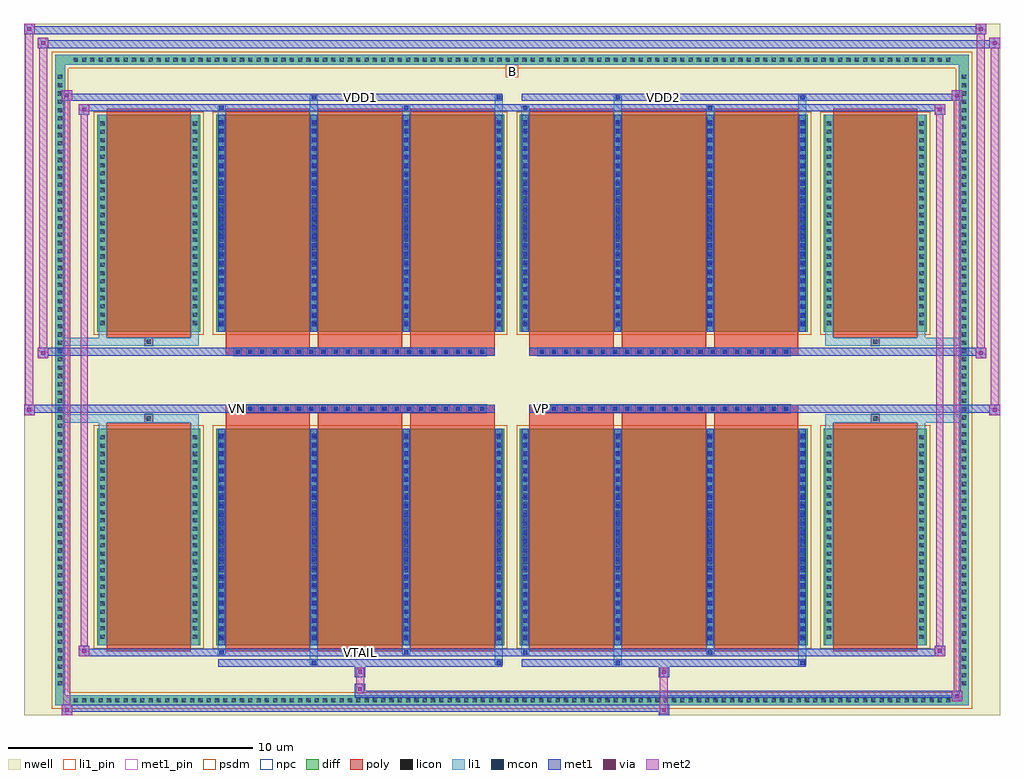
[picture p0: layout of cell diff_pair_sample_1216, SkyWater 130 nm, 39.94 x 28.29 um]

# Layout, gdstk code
import gdstk
lib = gdstk.Library(unit=1e-6, precision=5e-09)
def R(c, l, rs):  # rectangles x0, y0, x1, y1
    for r in rs: c.add(gdstk.rectangle(r[:2], r[2:], *l))
def A(c, l, x, y, w, h, nx, ny, dx, dy):  # array of equal rectangles
    R(c, l, [(x+i*dx, y+j*dy, x+i*dx+w, y+j*dy+h) for i in range(nx) for j in range(ny)])
def P(c, l, *ps):  # polygons
    for p in ps: c.add(gdstk.Polygon(p, *l))
nwell = (64, 20)
diff = (65, 20)
poly = (66, 20)
licon = (66, 44)
li1_pin = (67, 16)
li1 = (67, 20)
mcon = (67, 44)
met1_pin = (68, 16)
met1 = (68, 20)
via = (68, 44)
met2 = (69, 20)
psdm = (94, 20)
npc = (95, 20)

diff_pair_sample_1216 = lib.new_cell('diff_pair_sample_1216')
R(diff_pair_sample_1216, nwell, [(-19.97,-13.71,19.97,14.58), (-17.29,-11.9,-0.01,-0.8), (0.01,-11.9,17.29,-0.8), (-17.29,0.8,-0.01,11.9), (0.01,0.8,17.29,11.9)])
A(diff_pair_sample_1216, diff, -18.055, -13.31, 0.41, 0.41, 106, 2, 0.34, 26.21)
A(diff_pair_sample_1216, diff, -18.7, -12.615, 0.41, 0.41, 1, 74, 0, 0.34)
A(diff_pair_sample_1216, diff, 18.29, -12.615, 0.41, 0.41, 1, 74, 0, 0.34)
R(diff_pair_sample_1216, diff, [(-18.055,-13.31,18.055,-12.9), (-18.7,-12.615,-18.29,12.615), (18.29,-12.615,18.7,12.615), (-16.98,-10.855,-12.75,-1.985), (-12.11,-10.855,-0.32,-1.985), (0.32,-10.855,12.11,-1.985), (12.75,-10.855,16.98,-1.985), (-16.98,1.985,-12.75,10.855), (-12.11,1.985,-0.32,10.855), (0.32,1.985,12.11,10.855), (12.75,1.985,16.98,10.855), (-18.055,12.9,18.055,13.31)])
P(diff_pair_sample_1216, diff, [(18.7,13.31),(-18.7,13.31),(-18.7,-12.9),(-18.29,-12.9),(-18.29,12.9),(18.29,12.9),(18.29,-12.9),(-18.29,-12.9),(-18.7,-12.9),(-18.7,-13.31),(18.7,-13.31)])
A(diff_pair_sample_1216, poly, -11.72, -11.105, 3.45, 9.37, 3, 2, 3.78, 12.84)
A(diff_pair_sample_1216, poly, 0.71, -11.105, 3.45, 9.37, 3, 2, 3.78, 12.84)
A(diff_pair_sample_1216, poly, -11.72, -1.735, 3.45, 0.405, 3, 2, 3.78, 3.065)
A(diff_pair_sample_1216, poly, 0.71, -1.735, 3.45, 0.405, 3, 2, 3.78, 3.065)
A(diff_pair_sample_1216, poly, -11.38, -1.33, 0.33, 0.33, 21, 2, 0.5, 2.33)
A(diff_pair_sample_1216, poly, 1.05, -1.33, 0.33, 0.33, 21, 2, 0.5, 2.33)
R(diff_pair_sample_1216, poly, [(-16.59,-11.105,-13.14,-1.735), (13.14,-11.105,16.59,-1.735), (-15.03,-1.735,-14.7,-1.405), (-15.03,-1.735,-14.7,-1.405), (14.7,-1.735,15.03,-1.405), (14.7,-1.735,15.03,-1.405), (-11.72,-1.33,-0.71,-1), (0.71,-1.33,11.72,-1), (-11.72,1,-0.71,1.33), (0.71,1,11.72,1.33), (-15.03,1.405,-14.7,1.735), (-15.03,1.405,-14.7,1.735), (14.7,1.405,15.03,1.735), (14.7,1.405,15.03,1.735), (-16.59,1.735,-13.14,11.105), (13.14,1.735,16.59,11.105)])
A(diff_pair_sample_1216, licon, -17.935, -13.19, 0.17, 0.17, 106, 2, 0.34, 26.21)
A(diff_pair_sample_1216, licon, -18.58, -12.495, 0.17, 0.17, 1, 74, 0, 0.34)
A(diff_pair_sample_1216, licon, 18.41, -12.495, 0.17, 0.17, 1, 74, 0, 0.34)
A(diff_pair_sample_1216, licon, -16.84, -10.585, 0.17, 0.17, 1, 25, 0, 0.34)
A(diff_pair_sample_1216, licon, -13.06, -10.585, 0.17, 0.17, 1, 25, 0, 0.34)
A(diff_pair_sample_1216, licon, -11.97, -10.585, 0.17, 0.17, 4, 25, 3.78, 0.34)
A(diff_pair_sample_1216, licon, 0.46, -10.585, 0.17, 0.17, 4, 25, 3.78, 0.34)
A(diff_pair_sample_1216, licon, 12.89, -10.585, 0.17, 0.17, 1, 25, 0, 0.34)
A(diff_pair_sample_1216, licon, 16.67, -10.585, 0.17, 0.17, 1, 25, 0, 0.34)
A(diff_pair_sample_1216, licon, -11.3, -1.25, 0.17, 0.17, 21, 2, 0.5, 2.33)
A(diff_pair_sample_1216, licon, 1.13, -1.25, 0.17, 0.17, 21, 2, 0.5, 2.33)
A(diff_pair_sample_1216, licon, -16.84, 2.255, 0.17, 0.17, 1, 25, 0, 0.34)
A(diff_pair_sample_1216, licon, -13.06, 2.255, 0.17, 0.17, 1, 25, 0, 0.34)
A(diff_pair_sample_1216, licon, -11.97, 2.255, 0.17, 0.17, 4, 25, 3.78, 0.34)
A(diff_pair_sample_1216, licon, 0.46, 2.255, 0.17, 0.17, 4, 25, 3.78, 0.34)
A(diff_pair_sample_1216, licon, 12.89, 2.255, 0.17, 0.17, 1, 25, 0, 0.34)
A(diff_pair_sample_1216, licon, 16.67, 2.255, 0.17, 0.17, 1, 25, 0, 0.34)
R(diff_pair_sample_1216, licon, [(-14.95,-1.655,-14.78,-1.485), (14.78,-1.655,14.95,-1.485), (-14.95,1.485,-14.78,1.655), (14.78,1.485,14.95,1.655)])
R(diff_pair_sample_1216, li1_pin, [(-0.25,12.4,0.25,12.9)])
A(diff_pair_sample_1216, li1, -18.015, -13.27, 0.33, 0.33, 106, 2, 0.34, 26.21)
A(diff_pair_sample_1216, li1, -18.66, -12.575, 0.33, 0.33, 1, 74, 0, 0.34)
A(diff_pair_sample_1216, li1, 18.33, -12.575, 0.33, 0.33, 1, 74, 0, 0.34)
A(diff_pair_sample_1216, li1, -12.05, -10.855, 0.33, 8.87, 4, 2, 3.78, 12.84)
A(diff_pair_sample_1216, li1, 0.38, -10.855, 0.33, 8.87, 4, 2, 3.78, 12.84)
A(diff_pair_sample_1216, li1, -16.92, -10.665, 0.33, 0.33, 1, 25, 0, 0.34)
A(diff_pair_sample_1216, li1, -13.14, -10.665, 0.33, 0.33, 1, 25, 0, 0.34)
A(diff_pair_sample_1216, li1, -12.05, -10.665, 0.33, 0.33, 4, 25, 3.78, 0.34)
A(diff_pair_sample_1216, li1, 0.38, -10.665, 0.33, 0.33, 4, 25, 3.78, 0.34)
A(diff_pair_sample_1216, li1, 12.81, -10.665, 0.33, 0.33, 1, 25, 0, 0.34)
A(diff_pair_sample_1216, li1, 16.59, -10.665, 0.33, 0.33, 1, 25, 0, 0.34)
A(diff_pair_sample_1216, li1, -11.97, -10.645, 0.17, 0.17, 4, 24, 3.78, 0.36)
A(diff_pair_sample_1216, li1, -11.97, -10.645, 0.17, 8.45, 4, 2, 3.78, 12.84)
A(diff_pair_sample_1216, li1, 0.46, -10.645, 0.17, 0.17, 4, 24, 3.78, 0.36)
A(diff_pair_sample_1216, li1, 0.46, -10.645, 0.17, 8.45, 4, 2, 3.78, 12.84)
A(diff_pair_sample_1216, li1, -11.38, -1.33, 0.33, 0.33, 21, 2, 0.5, 2.33)
A(diff_pair_sample_1216, li1, 1.05, -1.33, 0.33, 0.33, 21, 2, 0.5, 2.33)
A(diff_pair_sample_1216, li1, -16.92, 2.175, 0.33, 0.33, 1, 25, 0, 0.34)
A(diff_pair_sample_1216, li1, -13.14, 2.175, 0.33, 0.33, 1, 25, 0, 0.34)
A(diff_pair_sample_1216, li1, -12.05, 2.175, 0.33, 0.33, 4, 25, 3.78, 0.34)
A(diff_pair_sample_1216, li1, 0.38, 2.175, 0.33, 0.33, 4, 25, 3.78, 0.34)
A(diff_pair_sample_1216, li1, 12.81, 2.175, 0.33, 0.33, 1, 25, 0, 0.34)
A(diff_pair_sample_1216, li1, 16.59, 2.175, 0.33, 0.33, 1, 25, 0, 0.34)
A(diff_pair_sample_1216, li1, -11.97, 2.195, 0.17, 0.17, 4, 24, 3.78, 0.36)
A(diff_pair_sample_1216, li1, 0.46, 2.195, 0.17, 0.17, 4, 24, 3.78, 0.36)
R(diff_pair_sample_1216, li1, [(-18.7,-13.31,-18.29,-12.9), (-18.7,-13.31,-18.29,-12.9), (-18.29,-13.31,18.29,-12.9), (18.29,-13.31,18.7,-12.9), (18.29,-13.31,18.7,-12.9), (-18.7,-12.9,-18.29,12.9), (18.29,-12.9,18.7,12.9), (-8.27,-11.66,-7.94,-10.855), (-8.19,-11.66,-8.02,-11.49), (-0.71,-11.66,-0.38,-10.855), (-0.63,-11.66,-0.46,-11.49), (4.16,-11.66,4.49,-10.855), (4.24,-11.66,4.41,-11.49), (11.72,-11.66,12.05,-10.855), (11.8,-11.66,11.97,-11.49), (-12.05,-11.23,-11.72,-10.855), (-11.97,-11.23,-11.8,-11.06), (-4.49,-11.23,-4.16,-10.855), (-4.41,-11.23,-4.24,-11.06), (0.38,-11.23,0.71,-10.855), (0.46,-11.23,0.63,-11.06), (7.94,-11.23,8.27,-10.855), (8.02,-11.23,8.19,-11.06), (-16.92,-10.855,-16.59,-1.985), (-13.14,-10.855,-12.81,-1.985), (12.81,-10.855,13.14,-1.985), (16.59,-10.855,16.92,-1.985), (-16.92,-1.985,-16.59,-1.405), (-13.14,-1.985,-12.81,-1.405), (12.81,-1.985,13.14,-1.405), (16.59,-1.985,16.92,-1.405), (-18.7,-1.735,-15.03,-1.405), (-16.92,-1.735,-15.03,-1.405), (-15.03,-1.735,-14.7,-1.405), (-14.7,-1.735,-12.81,-1.405), (12.81,-1.735,14.7,-1.405), (14.7,-1.735,15.03,-1.405), (14.7,-1.735,18.7,-1.405), (15.03,-1.735,16.92,-1.405), (-18.7,1.405,-15.03,1.735), (-16.92,1.405,-15.03,1.735), (-16.92,1.405,-16.59,1.985), (-15.03,1.405,-14.7,1.735), (-14.7,1.405,-12.81,1.735), (-13.14,1.405,-12.81,1.985), (12.81,1.405,14.7,1.735), (12.81,1.405,13.14,1.985), (14.7,1.405,15.03,1.735), (14.7,1.405,18.7,1.735), (15.03,1.405,16.92,1.735), (16.59,1.405,16.92,1.985), (-16.92,1.985,-16.59,10.855), (-13.14,1.985,-12.81,10.855), (12.81,1.985,13.14,10.855), (16.59,1.985,16.92,10.855), (-12.05,10.855,-11.72,11.23), (-8.27,10.855,-7.94,11.66), (-4.49,10.855,-4.16,11.23), (-0.71,10.855,-0.38,11.66), (0.38,10.855,0.71,11.23), (4.16,10.855,4.49,11.66), (7.94,10.855,8.27,11.23), (11.72,10.855,12.05,11.66), (-11.97,11.06,-11.8,11.23), (-4.41,11.06,-4.24,11.23), (0.46,11.06,0.63,11.23), (8.02,11.06,8.19,11.23), (-8.19,11.49,-8.02,11.66), (-0.63,11.49,-0.46,11.66), (4.24,11.49,4.41,11.66), (11.8,11.49,11.97,11.66), (-18.7,12.9,-18.29,13.31), (-18.7,12.9,-18.29,13.31), (-18.29,12.9,18.29,13.31), (18.29,12.9,18.7,13.31), (18.29,12.9,18.7,13.31)])
A(diff_pair_sample_1216, mcon, -11.97, -10.645, 0.17, 0.17, 4, 24, 3.78, 0.36)
A(diff_pair_sample_1216, mcon, 0.46, -10.645, 0.17, 0.17, 4, 24, 3.78, 0.36)
A(diff_pair_sample_1216, mcon, -11.3, -1.25, 0.17, 0.17, 21, 2, 0.5, 2.33)
A(diff_pair_sample_1216, mcon, 1.13, -1.25, 0.17, 0.17, 21, 2, 0.5, 2.33)
A(diff_pair_sample_1216, mcon, -11.97, 2.195, 0.17, 0.17, 4, 24, 3.78, 0.36)
A(diff_pair_sample_1216, mcon, 0.46, 2.195, 0.17, 0.17, 4, 24, 3.78, 0.36)
R(diff_pair_sample_1216, mcon, [(-8.19,-11.66,-8.02,-11.49), (-0.63,-11.66,-0.46,-11.49), (4.24,-11.66,4.41,-11.49), (11.8,-11.66,11.97,-11.49), (-11.97,-11.23,-11.8,-11.06), (-4.41,-11.23,-4.24,-11.06), (0.46,-11.23,0.63,-11.06), (8.02,-11.23,8.19,-11.06), (-11.97,11.06,-11.8,11.23), (-4.41,11.06,-4.24,11.23), (0.46,11.06,0.63,11.23), (8.02,11.06,8.19,11.23), (-8.19,11.49,-8.02,11.66), (-0.63,11.49,-0.46,11.66), (4.24,11.49,4.41,11.66), (11.8,11.49,11.97,11.66)])
R(diff_pair_sample_1216, met1_pin, [(-6.35,-11.27,-6.08,-11), (-11.35,-1.29,-11.08,-1.02), (1.08,-1.29,1.35,-1.02), (-6.35,11.45,-6.08,11.72), (6.08,11.45,6.35,11.72)])
A(diff_pair_sample_1216, met1, -12.03, -10.855, 0.29, 8.87, 4, 2, 3.78, 12.84)
A(diff_pair_sample_1216, met1, 0.4, -10.855, 0.29, 8.87, 4, 2, 3.78, 12.84)
A(diff_pair_sample_1216, met1, -12.03, -10.705, 0.29, 0.29, 4, 24, 3.78, 0.36)
A(diff_pair_sample_1216, met1, 0.4, -10.705, 0.29, 0.29, 4, 24, 3.78, 0.36)
A(diff_pair_sample_1216, met1, -11.36, -1.31, 0.29, 0.29, 21, 2, 0.5, 2.33)
A(diff_pair_sample_1216, met1, 1.07, -1.31, 0.29, 0.29, 21, 2, 0.5, 2.33)
A(diff_pair_sample_1216, met1, -12.03, 2.135, 0.29, 0.29, 4, 24, 3.78, 0.36)
A(diff_pair_sample_1216, met1, 0.4, 2.135, 0.29, 0.29, 4, 24, 3.78, 0.36)
R(diff_pair_sample_1216, met1, [(-18.43,-13.71,-18,-13.28), (6,-13.71,6.43,-13.28), (-18.43,-13.57,6.43,-13.28), (18,-13.14,18.43,-12.71), (-6.43,-13,18.43,-12.71), (-6.43,-12.86,-6,-12.43), (-6.43,-12.15,-6,-11.72), (6,-12.15,6.43,-11.72), (-12.03,-11.72,-0.4,-11.43), (-8.25,-11.72,-7.96,-11.43), (-0.69,-11.72,-0.4,-11.43), (0.4,-11.72,12.03,-11.43), (4.18,-11.72,4.47,-11.43), (11.74,-11.72,12.03,-11.43), (-17.72,-11.29,-17.29,-10.86), (-17.72,-11.29,-12.03,-11), (-12.03,-11.29,-11.74,-11), (-12.03,-11.29,-0.4,-11), (-4.47,-11.29,-4.18,-11), (-0.4,-11.29,0.4,-11), (0.4,-11.29,0.69,-11), (0.4,-11.29,12.03,-11), (7.96,-11.29,8.25,-11), (12.03,-11.29,17.72,-11), (17.29,-11.29,17.72,-10.86), (-19.97,-1.43,-19.54,-1), (19.54,-1.43,19.97,-1), (-19.97,-1.33,-0.71,-1), (-11.72,-1.33,-0.71,-1), (0.71,-1.33,11.72,-1), (0.71,-1.33,19.97,-1), (-19.4,0.9,-18.97,1.33), (18.97,0.9,19.4,1.33), (-19.4,1,-11.72,1.33), (-11.72,1,-0.71,1.33), (0.71,1,11.72,1.33), (11.72,1,19.4,1.33), (-17.72,10.86,-17.29,11.29), (17.29,10.86,17.72,11.29), (-17.72,11,-12.03,11.29), (-12.03,11,-11.74,11.29), (-12.03,11,-0.4,11.29), (-4.47,11,-4.18,11.29), (-0.4,11,0.4,11.29), (0.4,11,0.69,11.29), (0.4,11,12.03,11.29), (7.96,11,8.25,11.29), (12.03,11,17.72,11.29), (-18.43,11.43,-18,11.86), (-18.43,11.43,-12.03,11.72), (-12.03,11.43,-0.4,11.72), (-8.25,11.43,-7.96,11.72), (-0.69,11.43,-0.4,11.72), (0.4,11.43,12.03,11.72), (4.18,11.43,4.47,11.72), (11.74,11.43,12.03,11.72), (12.03,11.43,18.43,11.72), (18,11.43,18.43,11.86), (-19.4,13.58,-18.97,14.01), (-19.4,13.58,-17.29,13.91), (-17.29,13.58,17.29,13.91), (17.29,13.58,19.97,13.91), (19.54,13.58,19.97,14.01), (-19.97,14.15,-19.54,14.58), (-19.97,14.15,-17.29,14.48), (-17.29,14.15,17.29,14.48), (17.29,14.15,19.4,14.48), (18.97,14.15,19.4,14.58)])
R(diff_pair_sample_1216, via, [(-18.29,-13.57,-18.14,-13.42), (6.14,-13.57,6.29,-13.42), (18.14,-13,18.29,-12.85), (-6.29,-12.72,-6.14,-12.57), (-6.29,-12.01,-6.14,-11.86), (6.14,-12.01,6.29,-11.86), (-17.58,-11.15,-17.43,-11), (17.43,-11.15,17.58,-11), (-19.83,-1.29,-19.68,-1.14), (19.68,-1.29,19.83,-1.14), (-19.26,1.04,-19.11,1.19), (19.11,1.04,19.26,1.19), (-17.58,11,-17.43,11.15), (17.43,11,17.58,11.15), (-18.29,11.57,-18.14,11.72), (18.14,11.57,18.29,11.72), (-19.26,13.72,-19.11,13.87), (19.68,13.72,19.83,13.87), (-19.83,14.29,-19.68,14.44), (19.11,14.29,19.26,14.44)])
R(diff_pair_sample_1216, met2, [(-18.43,-13.71,-18,-13.28), (-18.36,-13.71,-18.07,11.86), (-18.07,-13.71,-18,-13.28), (-18.38,-13.66,-18.05,-13.33), (6.05,-13.66,6.38,-13.33), (6.05,-13.33,6.38,-12.1), (18,-13.14,18.43,-12.71), (18.07,-13.14,18.36,11.86), (18.36,-13.14,18.43,-12.71), (18.05,-13.09,18.38,-12.76), (-6.38,-12.81,-6.05,-12.48), (-6.38,-12.48,-6.05,-12.1), (-6.38,-12.1,-6.05,-11.77), (6.05,-12.1,6.38,-11.77), (-17.72,-11.29,-17.29,-10.86), (-17.65,-11.29,-17.36,11.29), (-17.36,-11.29,-17.29,-10.86), (17.29,-11.29,17.72,-10.86), (17.36,-11.29,17.65,11.29), (17.65,-11.29,17.72,-10.86), (-17.67,-11.24,-17.34,-10.91), (17.34,-11.24,17.67,-10.91), (-19.97,-1.43,-19.54,-1), (-19.92,-1.43,-19.59,14.58), (-19.59,-1.43,-19.54,-1), (19.54,-1.43,19.97,-1), (19.59,-1.43,19.92,14.01), (19.92,-1.43,19.97,-1), (-19.92,-1.38,-19.59,-1.05), (19.59,-1.38,19.92,-1.05), (-19.4,0.9,-18.97,1.33), (-19.35,0.9,-19.02,14.01), (-19.02,0.9,-18.97,1.33), (18.97,0.9,19.4,1.33), (19.02,0.9,19.35,14.58), (19.35,0.9,19.4,1.33), (-19.35,0.95,-19.02,1.28), (19.02,0.95,19.35,1.28), (-17.72,10.86,-17.29,11.29), (-17.36,10.86,-17.29,11.29), (17.29,10.86,17.72,11.29), (17.65,10.86,17.72,11.29), (-17.67,10.91,-17.34,11.24), (17.34,10.91,17.67,11.24), (-18.43,11.43,-18,11.86), (-18.07,11.43,-18,11.86), (18,11.43,18.43,11.86), (18.36,11.43,18.43,11.86), (-18.38,11.48,-18.05,11.81), (18.05,11.48,18.38,11.81), (-19.4,13.58,-18.97,14.01), (-19.02,13.58,-18.97,14.01), (19.54,13.58,19.97,14.01), (19.92,13.58,19.97,14.01), (-19.35,13.63,-19.02,13.96), (19.59,13.63,19.92,13.96), (-19.97,14.15,-19.54,14.58), (-19.59,14.15,-19.54,14.58), (18.97,14.15,19.4,14.58), (19.35,14.15,19.4,14.58), (-19.92,14.2,-19.59,14.53), (19.02,14.2,19.35,14.53)])
R(diff_pair_sample_1216, psdm, [(-17.11,-10.985,-12.62,-1.855), (-12.24,-10.985,-0.19,-1.855), (0.19,-10.985,12.24,-1.855), (12.62,-10.985,17.11,-1.855), (-17.11,1.855,-12.62,10.985), (-12.24,1.855,-0.19,10.985), (0.19,1.855,12.24,10.985), (12.62,1.855,17.11,10.985)])
P(diff_pair_sample_1216, psdm, [(18.83,13.44),(-18.83,13.44),(-18.83,-12.77),(-18.16,-12.77),(-18.16,12.77),(18.16,12.77),(18.16,-12.77),(-18.16,-12.77),(-18.83,-12.77),(-18.83,-13.44),(18.83,-13.44)])
A(diff_pair_sample_1216, npc, -11.4, -1.35, 0.37, 0.37, 21, 2, 0.5, 2.33)
A(diff_pair_sample_1216, npc, 1.03, -1.35, 0.37, 0.37, 21, 2, 0.5, 2.33)
R(diff_pair_sample_1216, npc, [(-15.05,-1.755,-14.68,-1.385), (14.68,-1.755,15.05,-1.385), (-11.4,-1.35,-10.53,-0.98), (-11.4,-1.35,-10.53,-0.98), (-10.9,-1.35,-10.03,-0.98), (-10.9,-1.35,-10.03,-0.98), (-10.4,-1.35,-9.53,-0.98), (-10.4,-1.35,-9.53,-0.98), (-9.9,-1.35,-9.03,-0.98), (-9.9,-1.35,-9.03,-0.98), (-9.4,-1.35,-8.53,-0.98), (-9.4,-1.35,-8.53,-0.98), (-8.9,-1.35,-8.03,-0.98), (-8.9,-1.35,-8.03,-0.98), (-8.4,-1.35,-7.53,-0.98), (-8.4,-1.35,-7.53,-0.98), (-7.9,-1.35,-7.03,-0.98), (-7.9,-1.35,-7.03,-0.98), (-7.4,-1.35,-6.53,-0.98), (-7.4,-1.35,-6.53,-0.98), (-6.9,-1.35,-6.03,-0.98), (-6.9,-1.35,-6.03,-0.98), (-6.4,-1.35,-5.53,-0.98), (-6.4,-1.35,-5.53,-0.98), (-5.9,-1.35,-5.03,-0.98), (-5.9,-1.35,-5.03,-0.98), (-5.4,-1.35,-4.53,-0.98), (-5.4,-1.35,-4.53,-0.98), (-4.9,-1.35,-4.03,-0.98), (-4.9,-1.35,-4.03,-0.98), (-4.4,-1.35,-3.53,-0.98), (-4.4,-1.35,-3.53,-0.98), (-3.9,-1.35,-3.03,-0.98), (-3.9,-1.35,-3.03,-0.98), (-3.4,-1.35,-2.53,-0.98), (-3.4,-1.35,-2.53,-0.98), (-2.9,-1.35,-2.03,-0.98), (-2.9,-1.35,-2.03,-0.98), (-2.4,-1.35,-1.53,-0.98), (-2.4,-1.35,-1.53,-0.98), (-1.9,-1.35,-1.03,-0.98), (-1.9,-1.35,-1.03,-0.98), (1.03,-1.35,1.9,-0.98), (1.03,-1.35,1.9,-0.98), (1.53,-1.35,2.4,-0.98), (1.53,-1.35,2.4,-0.98), (2.03,-1.35,2.9,-0.98), (2.03,-1.35,2.9,-0.98), (2.53,-1.35,3.4,-0.98), (2.53,-1.35,3.4,-0.98), (3.03,-1.35,3.9,-0.98), (3.03,-1.35,3.9,-0.98), (3.53,-1.35,4.4,-0.98), (3.53,-1.35,4.4,-0.98), (4.03,-1.35,4.9,-0.98), (4.03,-1.35,4.9,-0.98), (4.53,-1.35,5.4,-0.98), (4.53,-1.35,5.4,-0.98), (5.03,-1.35,5.9,-0.98), (5.03,-1.35,5.9,-0.98), (5.53,-1.35,6.4,-0.98), (5.53,-1.35,6.4,-0.98), (6.03,-1.35,6.9,-0.98), (6.03,-1.35,6.9,-0.98), (6.53,-1.35,7.4,-0.98), (6.53,-1.35,7.4,-0.98), (7.03,-1.35,7.9,-0.98), (7.03,-1.35,7.9,-0.98), (7.53,-1.35,8.4,-0.98), (7.53,-1.35,8.4,-0.98), (8.03,-1.35,8.9,-0.98), (8.03,-1.35,8.9,-0.98), (8.53,-1.35,9.4,-0.98), (8.53,-1.35,9.4,-0.98), (9.03,-1.35,9.9,-0.98), (9.03,-1.35,9.9,-0.98), (9.53,-1.35,10.4,-0.98), (9.53,-1.35,10.4,-0.98), (10.03,-1.35,10.9,-0.98), (10.03,-1.35,10.9,-0.98), (10.53,-1.35,11.4,-0.98), (10.53,-1.35,11.4,-0.98), (-11.4,0.98,-10.53,1.35), (-11.4,0.98,-10.53,1.35), (-10.9,0.98,-10.03,1.35), (-10.9,0.98,-10.03,1.35), (-10.4,0.98,-9.53,1.35), (-10.4,0.98,-9.53,1.35), (-9.9,0.98,-9.03,1.35), (-9.9,0.98,-9.03,1.35), (-9.4,0.98,-8.53,1.35), (-9.4,0.98,-8.53,1.35), (-8.9,0.98,-8.03,1.35), (-8.9,0.98,-8.03,1.35), (-8.4,0.98,-7.53,1.35), (-8.4,0.98,-7.53,1.35), (-7.9,0.98,-7.03,1.35), (-7.9,0.98,-7.03,1.35), (-7.4,0.98,-6.53,1.35), (-7.4,0.98,-6.53,1.35), (-6.9,0.98,-6.03,1.35), (-6.9,0.98,-6.03,1.35), (-6.4,0.98,-5.53,1.35), (-6.4,0.98,-5.53,1.35), (-5.9,0.98,-5.03,1.35), (-5.9,0.98,-5.03,1.35), (-5.4,0.98,-4.53,1.35), (-5.4,0.98,-4.53,1.35), (-4.9,0.98,-4.03,1.35), (-4.9,0.98,-4.03,1.35), (-4.4,0.98,-3.53,1.35), (-4.4,0.98,-3.53,1.35), (-3.9,0.98,-3.03,1.35), (-3.9,0.98,-3.03,1.35), (-3.4,0.98,-2.53,1.35), (-3.4,0.98,-2.53,1.35), (-2.9,0.98,-2.03,1.35), (-2.9,0.98,-2.03,1.35), (-2.4,0.98,-1.53,1.35), (-2.4,0.98,-1.53,1.35), (-1.9,0.98,-1.03,1.35), (-1.9,0.98,-1.03,1.35), (1.03,0.98,1.9,1.35), (1.03,0.98,1.9,1.35), (1.53,0.98,2.4,1.35), (1.53,0.98,2.4,1.35), (2.03,0.98,2.9,1.35), (2.03,0.98,2.9,1.35), (2.53,0.98,3.4,1.35), (2.53,0.98,3.4,1.35), (3.03,0.98,3.9,1.35), (3.03,0.98,3.9,1.35), (3.53,0.98,4.4,1.35), (3.53,0.98,4.4,1.35), (4.03,0.98,4.9,1.35), (4.03,0.98,4.9,1.35), (4.53,0.98,5.4,1.35), (4.53,0.98,5.4,1.35), (5.03,0.98,5.9,1.35), (5.03,0.98,5.9,1.35), (5.53,0.98,6.4,1.35), (5.53,0.98,6.4,1.35), (6.03,0.98,6.9,1.35), (6.03,0.98,6.9,1.35), (6.53,0.98,7.4,1.35), (6.53,0.98,7.4,1.35), (7.03,0.98,7.9,1.35), (7.03,0.98,7.9,1.35), (7.53,0.98,8.4,1.35), (7.53,0.98,8.4,1.35), (8.03,0.98,8.9,1.35), (8.03,0.98,8.9,1.35), (8.53,0.98,9.4,1.35), (8.53,0.98,9.4,1.35), (9.03,0.98,9.9,1.35), (9.03,0.98,9.9,1.35), (9.53,0.98,10.4,1.35), (9.53,0.98,10.4,1.35), (10.03,0.98,10.9,1.35), (10.03,0.98,10.9,1.35), (10.53,0.98,11.4,1.35), (10.53,0.98,11.4,1.35), (-15.05,1.385,-14.68,1.755), (14.68,1.385,15.05,1.755)])
diff_pair_sample_1216.add(gdstk.Label('VTAIL', (-6.215,-11.135), layer=68, texttype=5))
diff_pair_sample_1216.add(gdstk.Label('VN', (-11.215,-1.155), layer=68, texttype=5))
diff_pair_sample_1216.add(gdstk.Label('VP', (1.215,-1.155), layer=68, texttype=5))
diff_pair_sample_1216.add(gdstk.Label('B', (0,12.65), layer=67, texttype=5))
diff_pair_sample_1216.add(gdstk.Label('VDD2', (6.215,11.585), layer=68, texttype=5))
diff_pair_sample_1216.add(gdstk.Label('VDD1', (-6.215,11.585), layer=68, texttype=5))

lib.write_gds('diff_pair_sample_1216.gds')
